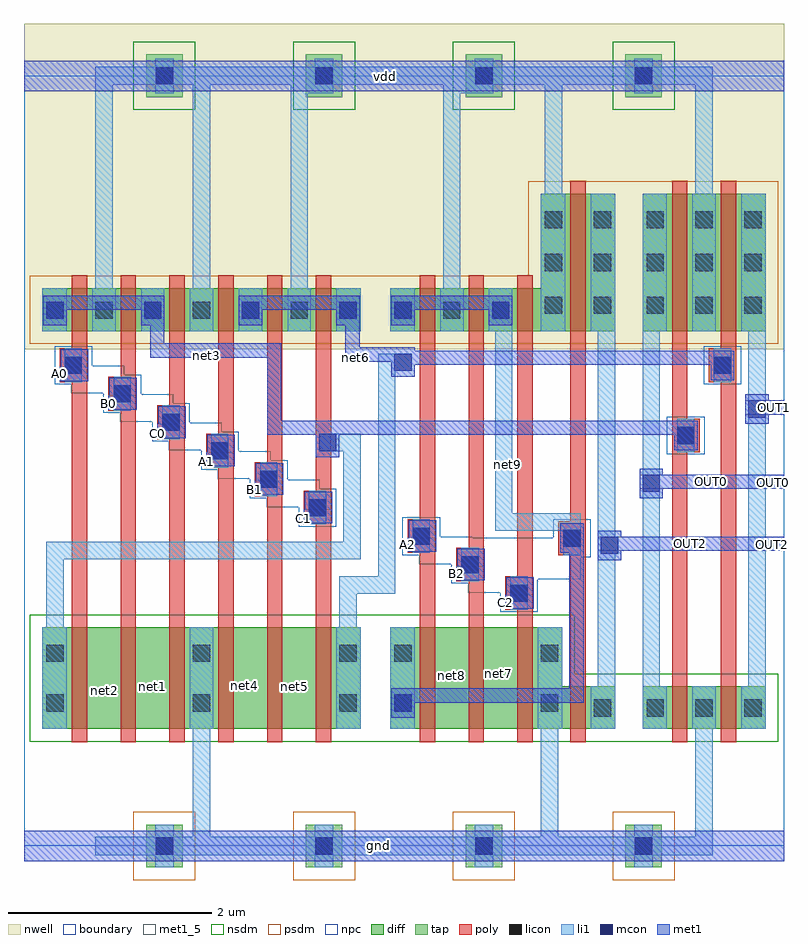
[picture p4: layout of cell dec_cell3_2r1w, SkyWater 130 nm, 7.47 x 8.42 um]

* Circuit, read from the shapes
.subckt dec_cell3_2r1w A0 A1 A2 B0 B1 B2 C0 C1 C2 OUT0 OUT1 OUT2 gnd net1 net2 net3 net4 net5 net6 net7 net8 net9 vdd
XM1 net2 A0 net3 gnd sky130_fd_pr__nfet_01v8 w=1 l=0.15
XM2 net1 B0 net2 gnd sky130_fd_pr__nfet_01v8 w=1 l=0.15
XM3 gnd C0 net1 gnd sky130_fd_pr__nfet_01v8 w=1 l=0.15
XM4 net4 A1 gnd gnd sky130_fd_pr__nfet_01v8 w=1 l=0.15
XM5 net5 B1 net4 gnd sky130_fd_pr__nfet_01v8 w=1 l=0.15
XM6 net6 C1 net5 gnd sky130_fd_pr__nfet_01v8 w=1 l=0.15
XM7 net8 A2 net9 gnd sky130_fd_pr__nfet_01v8 w=1 l=0.15
XM8 net7 B2 net8 gnd sky130_fd_pr__nfet_01v8 w=1 l=0.15
XM9 gnd C2 net7 gnd sky130_fd_pr__nfet_01v8 w=1 l=0.15
XM10 OUT2 net9 gnd gnd sky130_fd_pr__nfet_01v8 w=0.42 l=0.15
XM11 gnd net3 OUT0 gnd sky130_fd_pr__nfet_01v8 w=0.42 l=0.15
XM12 OUT1 net6 gnd gnd sky130_fd_pr__nfet_01v8 w=0.42 l=0.15
XM13 vdd A0 net3 vdd sky130_fd_pr__pfet_01v8 w=0.42 l=0.15
XM14 net3 B0 vdd vdd sky130_fd_pr__pfet_01v8 w=0.42 l=0.15
XM15 vdd C0 net3 vdd sky130_fd_pr__pfet_01v8 w=0.42 l=0.15
XM16 net6 A1 vdd vdd sky130_fd_pr__pfet_01v8 w=0.42 l=0.15
XM17 vdd B1 net6 vdd sky130_fd_pr__pfet_01v8 w=0.42 l=0.15
XM18 net6 C1 vdd vdd sky130_fd_pr__pfet_01v8 w=0.42 l=0.15
XM19 vdd A2 net9 vdd sky130_fd_pr__pfet_01v8 w=0.42 l=0.15
XM20 net9 B2 vdd vdd sky130_fd_pr__pfet_01v8 w=0.42 l=0.15
XM21 vdd C2 net9 vdd sky130_fd_pr__pfet_01v8 w=0.42 l=0.15
XM22 OUT2 net9 vdd vdd sky130_fd_pr__pfet_01v8 w=1.35 l=0.15
XM23 vdd net3 OUT0 vdd sky130_fd_pr__pfet_01v8 w=1.35 l=0.15
XM24 OUT1 net6 vdd vdd sky130_fd_pr__pfet_01v8 w=1.35 l=0.15
.ends

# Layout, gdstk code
import gdstk
lib = gdstk.Library(unit=1e-6, precision=1e-09)
def R(c, l, rs):  # rectangles x0, y0, x1, y1
    for r in rs: c.add(gdstk.rectangle(r[:2], r[2:], *l))
def A(c, l, x, y, w, h, nx, ny, dx, dy):  # array of equal rectangles
    R(c, l, [(x+i*dx, y+j*dy, x+i*dx+w, y+j*dy+h) for i in range(nx) for j in range(ny)])
nwell = (64, 20)
diff = (65, 20)
tap = (65, 44)
poly = (66, 20)
licon = (66, 44)
li1 = (67, 20)
mcon = (67, 44)
met1_5 = (68, 5)
met1 = (68, 20)
nsdm = (93, 44)
psdm = (94, 20)
npc = (95, 20)
boundary = (235, 4)

dec_cell3_2r1w = lib.new_cell('dec_cell3_2r1w')
R(dec_cell3_2r1w, nwell, [(0,4.88,7.47,8.08)])
R(dec_cell3_2r1w, diff, [(0.18,1.15,3.31,2.15), (3.6,1.15,5.81,1.57), (6.08,1.15,7.29,1.57), (3.6,1.57,5.29,2.15), (0.18,5.06,3.31,5.48), (3.6,5.06,5.81,5.48), (6.08,5.06,7.29,6.41), (5.08,5.48,5.81,6.41)])
A(dec_cell3_2r1w, tap, 1.2, -0.21, 0.36, 0.42, 4, 2, 1.57, 7.57)
R(dec_cell3_2r1w, poly, [(0.47,1.02,0.62,4.56), (0.95,1.02,1.1,4.28), (1.43,1.02,1.58,4), (1.91,1.02,2.06,3.72), (2.39,1.02,2.54,3.44), (2.87,1.02,3.02,3.16), (3.89,1.02,4.04,2.88), (4.37,1.02,4.52,2.6), (4.85,1.02,5,2.32), (5.37,1.02,5.52,2.86), (6.37,1.02,6.52,3.87), (6.85,1.02,7,4.56), (4.73,2.32,5,2.65), (4.25,2.6,4.52,2.93), (4.85,2.65,5,5.61), (5.25,2.86,5.52,3.19), (3.77,2.88,4.04,3.21), (4.37,2.93,4.52,5.61), (2.75,3.16,3.02,3.49), (5.37,3.19,5.52,6.54), (3.89,3.21,4.04,5.61), (2.27,3.44,2.54,3.77), (2.87,3.49,3.02,5.61), (1.79,3.72,2.06,4.05), (2.39,3.77,2.54,5.61), (6.37,3.87,6.64,4.2), (1.31,4,1.58,4.33), (1.91,4.05,2.06,5.61), (6.37,4.2,6.52,6.54), (0.83,4.28,1.1,4.61), (1.43,4.33,1.58,5.61), (0.35,4.56,0.62,4.89), (6.73,4.56,7,4.89), (0.95,4.61,1.1,5.61), (0.47,4.89,0.62,5.61), (6.85,4.89,7,6.54)])
A(dec_cell3_2r1w, licon, 1.295, -0.085, 0.17, 0.17, 4, 2, 1.57, 7.57)
A(dec_cell3_2r1w, licon, 6.12, 1.27, 0.17, 0.17, 3, 2, 0.48, 3.96)
A(dec_cell3_2r1w, licon, 0.22, 1.32, 0.17, 0.17, 3, 2, 1.44, 0.49)
A(dec_cell3_2r1w, licon, 0.22, 5.18, 0.17, 0.17, 7, 1, 0.48, 0)
A(dec_cell3_2r1w, licon, 3.64, 5.18, 0.17, 0.17, 3, 1, 0.48, 0)
A(dec_cell3_2r1w, licon, 5.12, 5.23, 0.17, 0.17, 1, 3, 0, 0.42)
A(dec_cell3_2r1w, licon, 5.6, 5.23, 0.17, 0.17, 1, 3, 0, 0.42)
A(dec_cell3_2r1w, licon, 6.12, 5.65, 0.17, 0.17, 3, 2, 0.48, 0.42)
R(dec_cell3_2r1w, licon, [(5.6,1.27,5.77,1.44), (3.64,1.32,3.81,1.49), (5.08,1.32,5.25,1.49), (3.64,1.81,3.81,1.98), (5.08,1.81,5.25,1.98), (4.78,2.4,4.95,2.57), (4.3,2.68,4.47,2.85), (5.3,2.94,5.47,3.11), (3.82,2.96,3.99,3.13), (2.8,3.24,2.97,3.41), (2.32,3.52,2.49,3.69), (1.84,3.8,2.01,3.97), (6.42,3.95,6.59,4.12), (1.36,4.08,1.53,4.25), (0.88,4.36,1.05,4.53), (0.4,4.64,0.57,4.81), (6.78,4.64,6.95,4.81)])
A(dec_cell3_2r1w, li1, 1.29, -0.21, 0.18, 0.12, 4, 2, 1.57, 0.3)
A(dec_cell3_2r1w, li1, 0.67, 5.06, 0.23, 0.42, 5, 1, 0.48, 0)
A(dec_cell3_2r1w, li1, 1.29, 7.66, 0.18, 0.08, 4, 1, 1.57, 0)
R(dec_cell3_2r1w, li1, [(0.7,-0.09,6.77,0.09), (1.66,0.09,1.83,1.15), (5.08,0.09,5.25,1.15), (6.6,0.09,6.77,1.15), (0.18,1.15,0.42,2.15), (1.63,1.15,1.86,2.15), (3.07,1.15,3.31,2.15), (3.6,1.15,3.84,2.15), (5.05,1.15,5.29,2.15), (5.57,1.15,5.81,1.57), (6.08,1.15,6.32,1.57), (6.57,1.15,6.8,1.57), (7.05,1.15,7.29,1.57), (5.64,1.57,5.81,2.87), (6.08,1.57,6.25,5.06), (7.12,1.57,7.29,5.06), (0.22,2.15,0.39,2.82), (3.1,2.15,3.27,2.48), (4.78,2.32,4.95,2.65), (3.1,2.48,3.65,2.65), (4.3,2.6,4.47,2.93), (3.48,2.65,3.65,4.67), (0.22,2.82,3.31,2.99), (5.3,2.86,5.47,3.1), (5.64,2.87,5.84,3.04), (3.82,2.88,3.99,3.21), (3.14,2.99,3.31,3.88), (5.64,3.04,5.81,5.06), (4.63,3.1,5.47,3.27), (2.8,3.16,2.97,3.49), (4.63,3.27,4.8,5.06), (2.32,3.44,2.49,3.77), (1.84,3.72,2.01,4.05), (6.42,3.87,6.59,4.2), (2.9,3.88,3.31,4.05), (1.36,4,1.53,4.33), (0.88,4.28,1.05,4.61), (0.4,4.56,0.57,4.89), (6.78,4.56,6.95,4.89), (3.48,4.67,3.81,4.84), (0.18,5.06,0.42,5.48), (3.07,5.06,3.31,5.48), (3.6,5.06,3.84,5.48), (4.09,5.06,4.32,5.48), (4.57,5.06,4.8,5.48), (5.08,5.06,5.32,6.41), (5.57,5.06,5.81,6.41), (6.08,5.06,6.32,6.41), (6.57,5.06,6.8,6.41), (7.05,5.06,7.29,6.41), (0.7,5.48,0.87,7.48), (1.66,5.48,1.83,7.48), (2.62,5.48,2.79,7.4), (4.12,5.48,4.29,7.4), (5.12,6.41,5.29,7.48), (6.6,6.41,6.77,7.48), (1.29,7.4,1.47,7.48), (2.62,7.4,3.04,7.48), (4.12,7.4,4.61,7.48), (6,7.4,6.18,7.48), (0.7,7.48,6.77,7.66)])
A(dec_cell3_2r1w, mcon, 1.295, -0.085, 0.17, 0.17, 4, 2, 1.57, 7.57)
A(dec_cell3_2r1w, mcon, 0.22, 5.18, 0.17, 0.17, 4, 1, 0.96, 0)
R(dec_cell3_2r1w, mcon, [(3.64,1.32,3.81,1.49), (4.78,2.4,4.95,2.57), (4.3,2.68,4.47,2.85), (5.67,2.87,5.84,3.04), (5.3,2.94,5.47,3.11), (3.82,2.96,3.99,3.13), (2.8,3.24,2.97,3.41), (6.08,3.48,6.25,3.65), (2.32,3.52,2.49,3.69), (1.84,3.8,2.01,3.97), (2.9,3.88,3.07,4.05), (6.42,3.95,6.59,4.12), (1.36,4.08,1.53,4.25), (7.12,4.21,7.29,4.38), (0.88,4.36,1.05,4.53), (0.4,4.64,0.57,4.81), (6.78,4.64,6.95,4.81), (3.64,4.67,3.81,4.84), (3.64,5.18,3.81,5.35), (4.6,5.18,4.77,5.35)])
R(dec_cell3_2r1w, met1_5, [(0,-0.15,7.47,0.15), (4.73,2.33,5.01,2.47), (4.25,2.61,4.53,2.75), (3.77,2.89,4.05,3.03), (5.64,2.9,7.47,3.04), (2.75,3.17,3.03,3.31), (2.27,3.45,2.55,3.59), (6.05,3.51,7.47,3.65), (1.79,3.73,2.07,3.87), (1.31,4.01,1.59,4.15), (7.09,4.24,7.47,4.38), (0.83,4.29,1.11,4.43), (0.35,4.57,0.63,4.71), (0,7.42,7.47,7.72)])
A(dec_cell3_2r1w, met1, 0.19, 5.12, 0.23, 0.15, 4, 1, 0.96, 0)
R(dec_cell3_2r1w, met1, [(0,-0.15,7.47,0.15), (0,-0.15,7.47,0.15), (3.61,1.26,3.84,1.41), (3.61,1.41,5.5,1.55), (5.36,1.55,5.5,2.88), (4.73,2.33,5.01,2.47), (4.73,2.33,5.01,2.47), (4.74,2.47,5.01,2.64), (4.25,2.61,4.53,2.75), (4.25,2.61,4.53,2.75), (4.26,2.75,4.53,2.92), (5.64,2.81,5.87,2.9), (5.27,2.88,5.5,3.17), (3.77,2.89,4.05,3.03), (3.77,2.89,4.05,3.03), (5.64,2.9,7.47,3.04), (5.64,2.9,7.47,3.04), (3.78,3.03,4.05,3.2), (5.64,3.04,5.87,3.1), (2.75,3.17,3.03,3.31), (2.75,3.17,3.03,3.31), (2.76,3.31,3.03,3.48), (6.05,3.42,6.28,3.51), (2.27,3.45,2.55,3.59), (2.27,3.45,2.55,3.59), (6.05,3.51,7.47,3.65), (6.05,3.51,7.47,3.65), (2.28,3.59,2.55,3.76), (6.05,3.65,6.28,3.71), (1.79,3.73,2.07,3.87), (1.79,3.73,2.07,3.87), (2.87,3.82,3.1,4.04), (1.8,3.87,2.07,4.04), (6.39,3.89,6.62,4.04), (1.31,4.01,1.59,4.15), (1.31,4.01,1.59,4.15), (2.39,4.04,6.62,4.18), (1.32,4.15,1.59,4.32), (7.09,4.15,7.32,4.24), (2.39,4.18,2.53,4.8), (7.09,4.24,7.47,4.38), (7.09,4.24,7.47,4.38), (0.83,4.29,1.11,4.43), (0.83,4.29,1.11,4.43), (7.09,4.38,7.32,4.44), (0.84,4.43,1.11,4.6), (0.35,4.57,0.63,4.71), (0.35,4.57,0.63,4.71), (6.75,4.58,6.98,4.73), (3.61,4.61,3.84,4.73), (0.36,4.71,0.63,4.88), (3.61,4.73,6.98,4.76), (3.16,4.76,6.98,4.87), (1.24,4.8,2.53,4.94), (3.16,4.87,3.84,4.9), (3.16,4.9,3.3,5.12), (1.24,4.94,1.38,5.12), (3.61,5.12,3.84,5.27), (4.57,5.12,4.8,5.27), (0.19,5.27,1.38,5.41), (2.11,5.27,3.3,5.41), (3.61,5.27,4.8,5.41), (0,7.42,7.47,7.72), (0,7.42,7.47,7.72)])
A(dec_cell3_2r1w, nsdm, 1.075, 7.235, 0.61, 0.67, 4, 1, 1.57, 0)
R(dec_cell3_2r1w, nsdm, [(0.055,1.025,7.415,1.695), (0.055,1.695,5.415,2.275)])
A(dec_cell3_2r1w, psdm, 1.075, -0.335, 0.61, 0.67, 4, 1, 1.57, 0)
R(dec_cell3_2r1w, psdm, [(0.055,4.935,7.415,5.605), (4.955,5.605,7.415,6.535)])
R(dec_cell3_2r1w, npc, [(4.68,2.3,5.05,2.49), (4.365,2.49,5.05,2.58), (4.2,2.58,5.05,2.62), (4.2,2.62,5.47,2.77), (3.885,2.77,5.47,2.84), (3.885,2.84,5.57,2.86), (3.72,2.86,5.57,3.03), (3.72,3.03,4.405,3.04), (5.2,3.03,5.57,3.21), (3.72,3.04,4.09,3.23), (2.7,3.14,3.07,3.33), (2.385,3.33,3.07,3.42), (2.22,3.42,3.07,3.51), (2.22,3.51,2.905,3.6), (2.22,3.6,2.59,3.61), (1.905,3.61,2.59,3.7), (1.74,3.7,2.59,3.79), (1.74,3.79,2.425,3.88), (6.32,3.85,6.69,4.22), (1.74,3.88,2.11,3.89), (1.425,3.89,2.11,3.98), (1.26,3.98,2.11,4.07), (1.26,4.07,1.945,4.16), (1.26,4.16,1.63,4.17), (0.945,4.17,1.63,4.26), (0.78,4.26,1.63,4.35), (0.78,4.35,1.465,4.44), (0.78,4.44,1.15,4.45), (0.465,4.45,1.15,4.54), (0.3,4.54,1.15,4.63), (6.68,4.54,7.05,4.91), (0.3,4.63,0.985,4.72), (0.3,4.72,0.67,4.91)])
R(dec_cell3_2r1w, boundary, [(0,0,7.47,7.57)])
dec_cell3_2r1w.add(gdstk.Label('net3', (1.79,4.82), layer=68, texttype=16))
dec_cell3_2r1w.add(gdstk.Label('net4', (2.17,1.58), layer=65, texttype=20))
dec_cell3_2r1w.add(gdstk.Label('net5', (2.66,1.57), layer=65, texttype=20))
dec_cell3_2r1w.add(gdstk.Label('net6', (3.26,4.8), layer=68, texttype=16))
dec_cell3_2r1w.add(gdstk.Label('net1', (1.26,1.57), layer=65, texttype=20))
dec_cell3_2r1w.add(gdstk.Label('net2', (0.79,1.53), layer=65, texttype=20))
dec_cell3_2r1w.add(gdstk.Label('net7', (4.66,1.7), layer=65, texttype=20))
dec_cell3_2r1w.add(gdstk.Label('net8', (4.2,1.68), layer=65, texttype=20))
dec_cell3_2r1w.add(gdstk.Label('net9', (4.75,3.75), layer=67, texttype=16))
dec_cell3_2r1w.add(gdstk.Label('A0', (0.35,4.64), layer=68, texttype=5))
dec_cell3_2r1w.add(gdstk.Label('B0', (0.83,4.35), layer=68, texttype=5))
dec_cell3_2r1w.add(gdstk.Label('C0', (1.31,4.05), layer=68, texttype=5))
dec_cell3_2r1w.add(gdstk.Label('A1', (1.79,3.78), layer=68, texttype=5))
dec_cell3_2r1w.add(gdstk.Label('B1', (2.27,3.5), layer=68, texttype=5))
dec_cell3_2r1w.add(gdstk.Label('C1', (2.75,3.22), layer=68, texttype=5))
dec_cell3_2r1w.add(gdstk.Label('A2', (3.77,2.96), layer=68, texttype=5))
dec_cell3_2r1w.add(gdstk.Label('B2', (4.25,2.68), layer=68, texttype=5))
dec_cell3_2r1w.add(gdstk.Label('C2', (4.73,2.39), layer=68, texttype=5))
dec_cell3_2r1w.add(gdstk.Label('OUT1', (7.38,4.31), layer=68, texttype=5))
dec_cell3_2r1w.add(gdstk.Label('OUT0', (7.37,3.57), layer=68, texttype=5))
dec_cell3_2r1w.add(gdstk.Label('OUT2', (7.36,2.96), layer=68, texttype=5))
dec_cell3_2r1w.add(gdstk.Label('vdd', (3.55,7.56), layer=68, texttype=5))
dec_cell3_2r1w.add(gdstk.Label('gnd', (3.48,0), layer=68, texttype=5))
dec_cell3_2r1w.add(gdstk.Label('A0', (0.49,4.64), layer=68, texttype=20))
dec_cell3_2r1w.add(gdstk.Label('B0', (0.97,4.36), layer=68, texttype=20))
dec_cell3_2r1w.add(gdstk.Label('C0', (1.45,4.08), layer=68, texttype=20))
dec_cell3_2r1w.add(gdstk.Label('A1', (1.93,3.8), layer=68, texttype=20))
dec_cell3_2r1w.add(gdstk.Label('B1', (2.41,3.52), layer=68, texttype=20))
dec_cell3_2r1w.add(gdstk.Label('C1', (2.89,3.24), layer=68, texttype=20))
dec_cell3_2r1w.add(gdstk.Label('A2', (3.91,2.96), layer=68, texttype=20))
dec_cell3_2r1w.add(gdstk.Label('B2', (4.39,2.68), layer=68, texttype=20))
dec_cell3_2r1w.add(gdstk.Label('C2', (4.87,2.4), layer=68, texttype=20))
dec_cell3_2r1w.add(gdstk.Label('OUT0', (6.76,3.58), layer=68, texttype=20))
dec_cell3_2r1w.add(gdstk.Label('OUT1', (7.28,4.31), layer=68, texttype=20))
dec_cell3_2r1w.add(gdstk.Label('OUT2', (6.555,2.97), layer=68, texttype=20))
dec_cell3_2r1w.add(gdstk.Label('vdd', (3.735,7.57), layer=68, texttype=20))
dec_cell3_2r1w.add(gdstk.Label('gnd', (3.735,0), layer=68, texttype=20))

lib.write_gds('dec_cell3_2r1w.gds')
